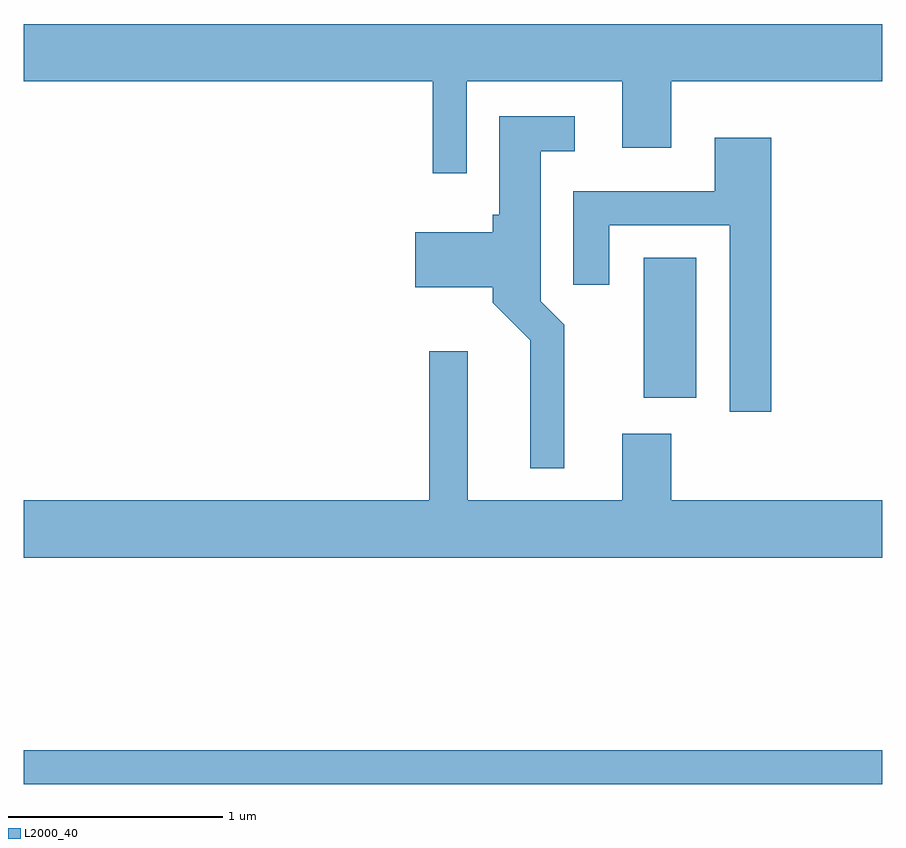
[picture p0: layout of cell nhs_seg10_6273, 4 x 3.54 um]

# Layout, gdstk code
import gdstk
lib = gdstk.Library(unit=1e-6, precision=1e-09)
def R(c, l, rs):  # rectangles x0, y0, x1, y1
    for r in rs: c.add(gdstk.rectangle(r[:2], r[2:], *l))
def P(c, l, *ps):  # polygons
    for p in ps: c.add(gdstk.Polygon(p, *l))
L2000_40 = (2000, 40)

nhs_seg10_6273 = lib.new_cell('nhs_seg10_6273')
R(nhs_seg10_6273, L2000_40, [(369.611,2192.781,373.611,2192.939), (372.501,2194.581,372.744,2195.234)])
P(nhs_seg10_6273, L2000_40, [(371.674,2196.056),(372.401,2196.056),(372.401,2195.746),(372.629,2195.746),(372.629,2196.056),(373.611,2196.056),(373.611,2196.324),(369.611,2196.324),(369.611,2196.056),(371.516,2196.056),(371.516,2195.628),(371.674,2195.628)],
  [(372.129,2194.922),(372.019,2195.032),(372.019,2195.731),(372.178,2195.731),(372.178,2195.894),(371.826,2195.894),(371.826,2195.434),(371.796,2195.434),(371.796,2195.354),(371.436,2195.354),(371.436,2195.096),(371.796,2195.096),(371.796,2195.024),(371.971,2194.849),(371.971,2194.253),(372.129,2194.253)],
  [(373.094,2195.794),(372.831,2195.794),(372.831,2195.544),(372.171,2195.544),(372.171,2195.108),(372.339,2195.108),(372.339,2195.386),(372.901,2195.386),(372.901,2194.516),(373.094,2194.516)],
  [(373.611,2194.104),(372.629,2194.104),(372.629,2194.414),(372.401,2194.414),(372.401,2194.104),(371.679,2194.104),(371.679,2194.799),(371.501,2194.799),(371.501,2194.104),(369.611,2194.104),(369.611,2193.836),(373.611,2193.836)])

lib.write_gds('nhs_seg10_6273.gds')
